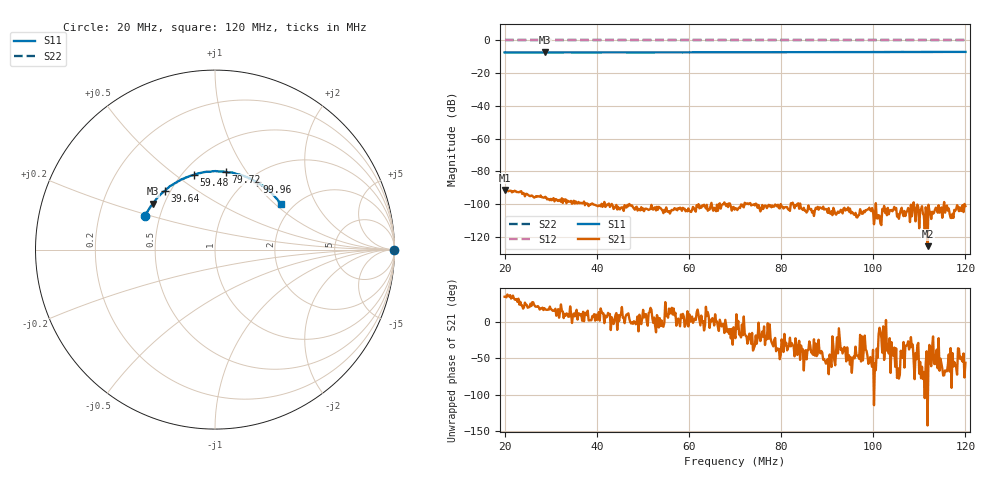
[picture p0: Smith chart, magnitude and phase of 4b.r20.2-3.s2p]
! Anritsu VNA Master:  Model: MS2036C/10/77
! SN:  1601066
! /bd0/18may26.balun/4b.r20.3.s2p
! Existing Calibration Information:
! TYPE:  Current Settings,  Active Cal Settings
! TIME:  05/26/2018 05:18:35 PM,  05/26/2018 05:08:07 PM
! INTERNAL TEMP:  52.8 C,  52.5 C
! # POINTS:  500,  500
! START FREQ:  20.000 MHz,  20.000 MHz
! STOP FREQ:  120.000 MHz,  120.000 MHz
! SOURCE POWER:  High,  High
! IFBW:  50 Hz,  50 Hz
! AVG FACTOR:  1 ,  1
! REF PLANE 1:  0 mm,  0 mm
! REF PLANE 2:  0 mm,  0 mm
! CAL TYPE:  Full S11,  Full S11
! CAL METHOD:  SOLT,  SOLT
! CAL LINE TYPE:  Coax,  Coax
! DUT PORT 1:  K-Conn(M),  K-Conn(M)
! DUT PORT 2:  K-Conn(M),  K-Conn(M)
! CAL STATUS:  OK: Accuracy High,  --
# GHZ S DB R 50.0
! FREQ.GHZ  S11DB  S11A  S21DB  S21A  S12DB  S12A  S22DB  S22A
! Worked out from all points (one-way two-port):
!   500 points, 20 MHz to 120 MHz, reference 50 ohm
!   highest |S21| = -91.39 dB at 20 MHz (marker M1); lowest = -125.8 dB at 111.8 MHz (marker M2)
!   lowest |S11| = -7.3 dB at 28.82 MHz (marker M3), VSWR 2.51, Z = 21.7 + j13.6 ohm
!   |S11| at or under -10 dB: nowhere
!   |S22| runs from 0.0 to 0.0 dB; largest |S21 - S12| = 1
!   S11 on the Smith chart (normalised r, x): 20 MHz: 0.41, +0.19; 39.64 MHz: 0.47, +0.38; 59.48 MHz: 0.57, +0.59; 79.72 MHz: 0.76, +0.81; 99.96 MHz: 1.10, +1.03; 120 MHz: 1.72, +1.09
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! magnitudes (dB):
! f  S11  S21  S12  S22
! 20 MHz  -7.3  -91.4  0.0  0.0
! 28.82 MHz  -7.3  -95.6  0.0  0.0
! 32.83 MHz  -7.3  -97.1  0.0  0.0
! 36.83 MHz  -7.3  -99.6  0.0  0.0
! 39.64 MHz  -7.3  -100.6  0.0  0.0
! 43.65 MHz  -7.3  -103.1  0.0  0.0
! 47.66 MHz  -7.3  -100.9  0.0  0.0
! 53.47 MHz  -7.3  -101.8  0.0  0.0
! 59.48 MHz  -7.3  -103.8  0.0  0.0
! 67.7 MHz  -7.2  -99.1  0.0  0.0
! 70.1 MHz  -7.2  -102.5  0.0  0.0
! 72.91 MHz  -7.2  -100.2  0.0  0.0
! 75.31 MHz  -7.2  -102.6  0.0  0.0
! 79.72 MHz  -7.2  -102.7  0.0  0.0
! 80.72 MHz  -7.2  -102.1  0.0  0.0
! 83.73 MHz  -7.1  -99.7  0.0  0.0
! 86.73 MHz  -7.2  -105.3  0.0  0.0
! 99.96 MHz  -7.1  -104.5  0.0  0.0
! 102 MHz  -7.1  -103.1  0.0  0.0
! 103.4 MHz  -7.1  -106.3  0.0  0.0
! 111.8 MHz  -7.0  -125.8  0.0  0.0
! 120 MHz  -7.0  -101.3  0.0  0.0
